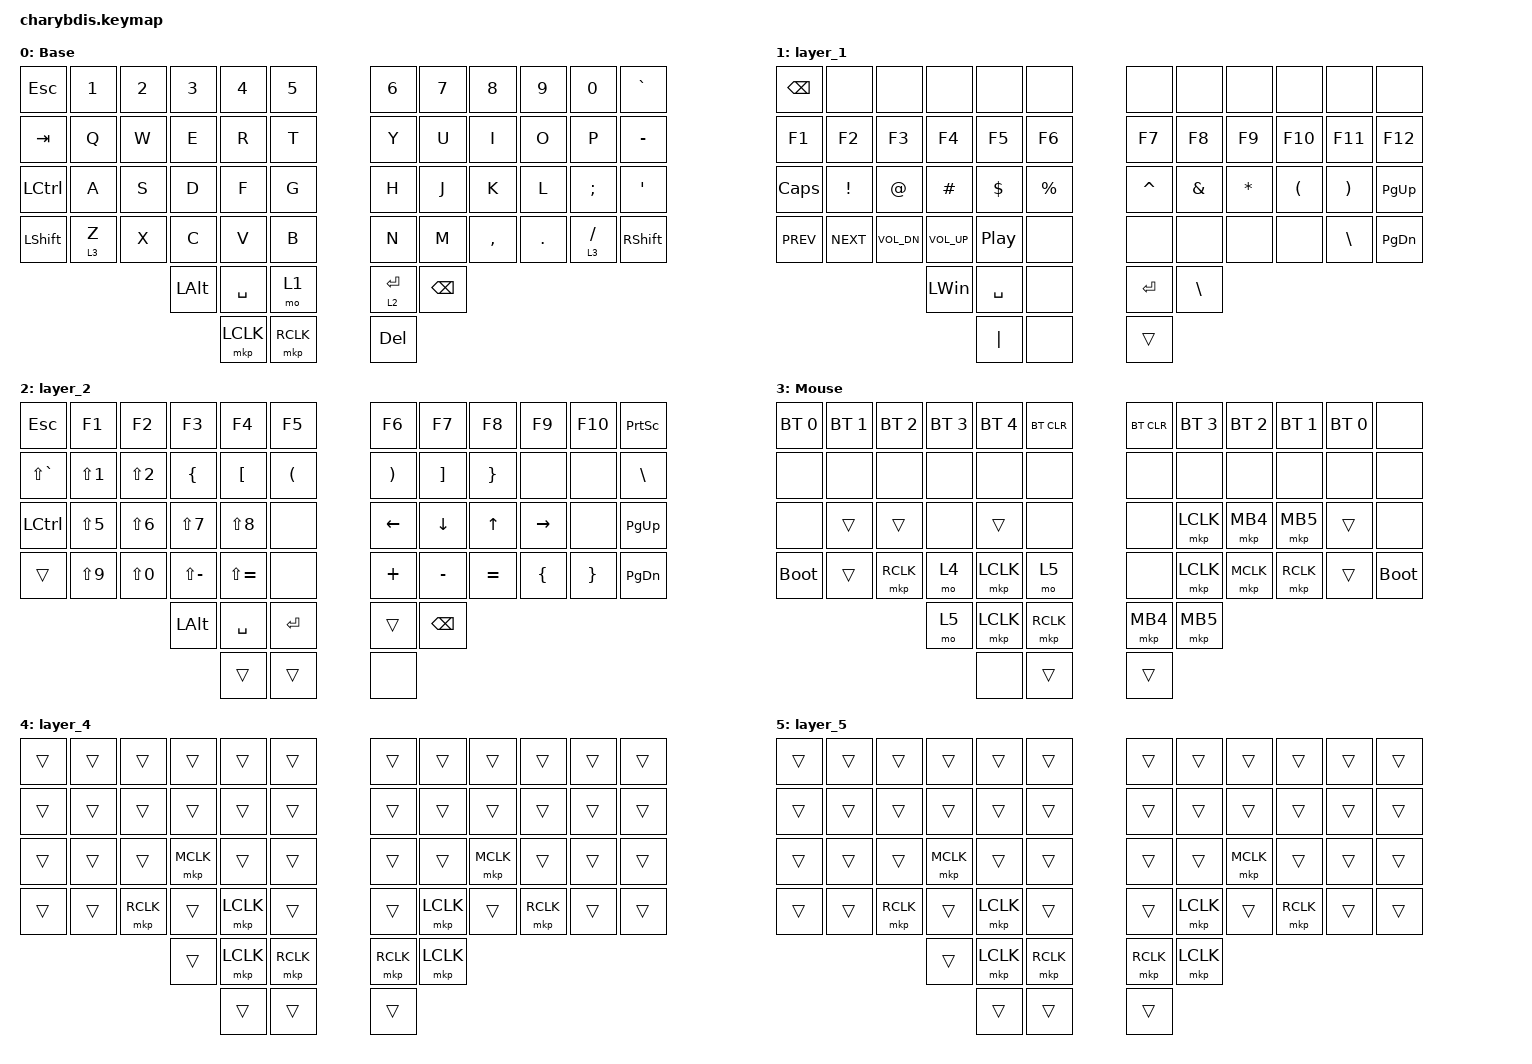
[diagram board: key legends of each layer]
#define ZMK_POINTING_DEFAULT_MOVE_VAL 1500  // default: 600
#include <behaviors.dtsi>
#include <dt-bindings/zmk/bt.h>
#include <dt-bindings/zmk/keys.h>
#include <dt-bindings/zmk/mouse.h>


&lt {
    tapping-term-ms = <200>;
    flavor = "balanced";
    quick-tap-ms = <150>;
};

/ {
    combos {
        compatible = "zmk,combos";

        escc {
            bindings = <&kp ESC>;
            key-positions = <17 18>;
            layers = <0>;
        };
    };

    keymap {
        compatible = "zmk,keymap";

        Base {
            bindings = <
&kp ESC         &kp N1   &kp N2  &kp N3          &kp N4             &kp N5                          &kp N6          &kp N7           &kp N8     &kp N9   &kp N0       &kp GRAVE
&kp TAB         &kp Q    &kp W   &kp E           &kp R              &kp T                           &kp Y           &kp U            &kp I      &kp O    &kp P        &kp MINUS
&kp LCTRL       &kp A    &kp S   &kp D           &kp F              &kp G                           &kp H           &kp J            &kp K      &kp L    &kp SEMI     &kp APOS
&kp LSHFT       &lt 3 Z  &kp X   &kp C           &kp V              &kp B                           &kp N           &kp M            &kp COMMA  &kp DOT  &lt 3 SLASH  &kp RSHFT
                                 &kp LEFT_ALT    &kp SPACE          &mo 1                           &lt 2 ENTER     &kp BACKSPACE
                                                 &mkp LCLK          &mkp RCLK                       &kp DEL
            >;

            trackball-bindings = <&tmv_coarse>;
        };

        layer_1 {
            bindings = <
&kp BSPC    &none           &none           &none               &none               &none                   &none       &none           &none           &none       &none           &none
&kp F1      &kp F2          &kp F3          &kp F4              &kp F5              &kp F6                  &kp F7      &kp F8          &kp F9          &kp F10     &kp F11         &kp F12
&kp CAPS    &kp EXCL        &kp AT_SIGN     &kp HASH            &kp DOLLAR          &kp PERCENT             &kp CARET   &kp AMPERSAND   &kp ASTERISK    &kp LPAR    &kp RPAR        &kp PAGE_UP
&kp C_PREV  &kp C_NEXT      &kp C_VOL_DN    &kp C_VOL_UP        &kp C_PLAY_PAUSE    &none                   &none       &none           &none           &none       &kp BACKSLASH   &kp PAGE_DOWN
                                            &kp LEFT_WIN        &kp SPACE           &none                   &kp ENTER   &kp BACKSLASH
                                                                &kp PIPE            &none                   &trans
            >;
        };

        layer_2 {
            bindings = <
&kp ESC           &kp F1      &kp F2      &kp F3         &kp F4         &kp F5                  &kp F6          &kp F7          &kp F8      &kp F9        &kp F10       &kp PRINTSCREEN
&kp LS(GRAVE)     &kp LS(N1)  &kp LS(N2)  &kp LBRC       &kp LBKT       &kp LPAR                &kp RPAR        &kp RBKT        &kp RBRC    &none         &none         &kp BACKSLASH
&kp LCTRL         &kp LS(N5)  &kp LS(N6)  &kp LS(N7)     &kp LS(N8)     &none                   &kp LEFT        &kp DOWN        &kp UP      &kp RIGHT     &none         &kp PAGE_UP
&trans            &kp LS(N9)  &kp LS(N0)  &kp LS(MINUS)  &kp LS(EQUAL)  &none                   &kp PLUS        &kp MINUS       &kp EQUAL   &kp LBRC      &kp RBRC      &kp PAGE_DOWN
                                          &kp LEFT_ALT   &kp SPACE      &kp ENTER               &trans          &kp BACKSPACE
                                                         &trans         &trans                  &none
            >;
        };

        Mouse {
            bindings = <
&bt BT_SEL 0    &bt BT_SEL 1    &bt BT_SEL 2    &bt BT_SEL 3        &bt BT_SEL 4    &bt BT_CLR              &bt BT_CLR  &bt BT_SEL 3    &bt BT_SEL 2    &bt BT_SEL 1    &bt BT_SEL 0    &none
&none           &none           &none           &none               &none           &none                   &none       &none           &none           &none           &none           &none
&none           &trans          &trans          &none               &trans          &none                   &none       &mkp LCLK       &mkp MB4        &mkp MB5        &trans          &none
&bootloader     &trans          &mkp RCLK       &mo 4               &mkp LCLK       &mo 5                   &none       &mkp LCLK       &mkp MCLK       &mkp RCLK       &trans          &bootloader
                                                &mo 5               &mkp LCLK       &mkp RCLK               &mkp MB4    &mkp MB5
                                                                    &none           &trans                  &trans
            >;
        };

        layer_4 {
            bindings = <
&trans  &trans  &trans     &trans     &trans     &trans       &trans     &trans     &trans     &trans     &trans  &trans
&trans  &trans  &trans     &trans     &trans     &trans       &trans     &trans     &trans     &trans     &trans  &trans
&trans  &trans  &trans     &mkp MCLK  &trans     &trans       &trans     &trans     &mkp MCLK  &trans     &trans  &trans
&trans  &trans  &mkp RCLK  &trans     &mkp LCLK  &trans       &trans     &mkp LCLK  &trans     &mkp RCLK  &trans  &trans
                           &trans     &mkp LCLK  &mkp RCLK    &mkp RCLK  &mkp LCLK
                                      &trans     &trans       &trans
            >;

            trackball-bindings = <&tsl>;    //Roller layer
        };

        layer_5 {
            bindings = <
&trans  &trans  &trans     &trans     &trans     &trans       &trans     &trans     &trans     &trans     &trans  &trans
&trans  &trans  &trans     &trans     &trans     &trans       &trans     &trans     &trans     &trans     &trans  &trans
&trans  &trans  &trans     &mkp MCLK  &trans     &trans       &trans     &trans     &mkp MCLK  &trans     &trans  &trans
&trans  &trans  &mkp RCLK  &trans     &mkp LCLK  &trans       &trans     &mkp LCLK  &trans     &mkp RCLK  &trans  &trans
                           &trans     &mkp LCLK  &mkp RCLK    &mkp RCLK  &mkp LCLK
                                      &trans     &trans       &trans
            >;

            trackball-bindings = <&tmv_fine>;   //Mouse layer
        };
    };
};
